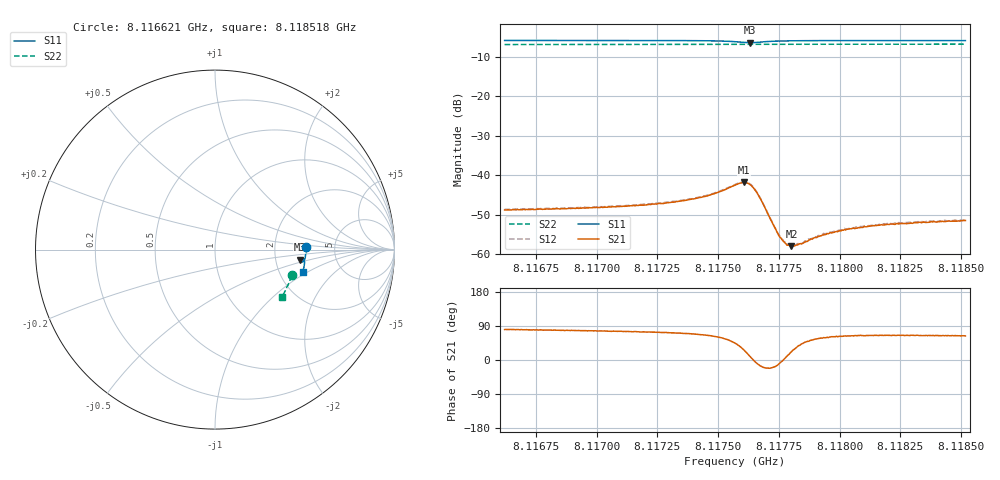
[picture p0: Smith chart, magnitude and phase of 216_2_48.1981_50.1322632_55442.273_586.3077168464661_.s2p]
#  HZ  S  RI  R  50.00
! Rohde & Schwarz Vector Network Analyzer
! Rohde-Schwarz,ZNB20-2Port,1311601062101988,3.16
! Created: UTC 3/20/2024, 11:45:44 AM
! freq[Hz]  re:S11  im:S11  re:S21  im:S21  re:S12  im:S12  re:S22  im:S22
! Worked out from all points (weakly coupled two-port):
!   401 points, 8.116621 GHz to 8.118518 GHz, reference 50 ohm
!   highest |S21| = -41.83 dB at 8.117608 GHz (marker M1); lowest = -57.9 dB at 8.117802 GHz (marker M2)
!   lowest |S11| = -6.5 dB at 8.117631 GHz (marker M3), VSWR 2.80, Z = 137 - j20.1 ohm
!   |S11| at or under -10 dB: nowhere
!   |S22| runs from -6.9 to -6.8 dB; largest |S21 - S12| = 0.0002
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8.1166211e9  0.5066 0.012  0.000616 0.00359  0.000652 0.00364  0.4264 -0.1439
8.1169388e9  0.5061 -0.0125  0.000833 0.00375  0.000901 0.00381  0.4196 -0.165
8.1172566e9  0.5037 -0.0384  0.00129 0.00422  0.00136 0.00424  0.4118 -0.1859
8.1173325e9  0.5025 -0.0451  0.00151 0.0044  0.00159 0.00444  0.4097 -0.1908
8.1174416e9  0.4992 -0.056  0.00218 0.00491  0.00225 0.00499  0.4066 -0.1979
8.1175032e9  0.4952 -0.063  0.00306 0.00532  0.00317 0.00538  0.4048 -0.2019
8.1175696e9  0.4842 -0.0693  0.00532 0.00527  0.00548 0.00535  0.4023 -0.2058
8.1176076e9  0.4739 -0.0653  0.00729 0.00353  0.00741 0.00346  0.4008 -0.208
8.1176313e9  0.4709 -0.0568  0.00754 0.00126  0.00768 0.00118  0.4 -0.2089
8.1176455e9  0.4726 -0.0514  0.00694 -4.78e-05  0.00707 -7.51e-05  0.3998 -0.2096
8.1176645e9  0.4781 -0.0472  0.00558 -0.00111  0.00567 -0.00118  0.3997 -0.2106
8.1177356e9  0.494 -0.0521  0.00201 -0.000622  0.00206 -0.000595  0.3982 -0.2154
8.1177546e9  0.4959 -0.0548  0.00163 -0.000234  0.00169 -0.000223  0.3978 -0.2165
8.1177783e9  0.4972 -0.0582  0.00136 0.000156  0.00141 0.000133  0.3969 -0.2181
8.117802e9  0.498 -0.0613  0.00118 0.000467  0.00122 0.000479  0.3962 -0.2198
8.11784e9  0.4986 -0.066  0.00103 0.000893  0.00106 0.000872  0.3954 -0.2222
8.1178874e9  0.4988 -0.0711  0.000944 0.00123  0.000978 0.00126  0.3937 -0.2251
8.1179301e9  0.4986 -0.0751  0.000941 0.00149  0.000959 0.00151  0.3921 -0.2279
8.1180155e9  0.4978 -0.0828  0.000917 0.00179  0.000931 0.00184  0.3895 -0.2332
8.1181293e9  0.4964 -0.0924  0.000976 0.00207  0.00101 0.0021  0.3857 -0.2403
8.1182052e9  0.4954 -0.0984  0.001 0.00216  0.00105 0.00222  0.3828 -0.2449
8.1185182e9  0.49 -0.122  0.00119 0.0024  0.0012 0.00245  0.3714 -0.2635
